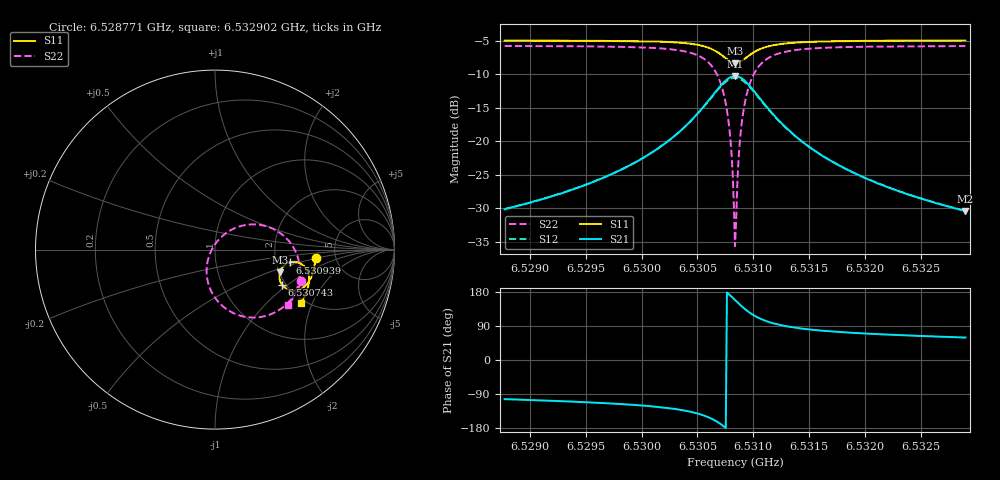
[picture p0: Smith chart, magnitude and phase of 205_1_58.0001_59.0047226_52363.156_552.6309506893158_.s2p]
#  HZ  S  RI  R  50.00
! Rohde & Schwarz Vector Network Analyzer
! Rohde-Schwarz,ZNB20-2Port,1311601062101988,3.16
! Created: UTC 3/21/2024, 12:59:24 AM
! freq[Hz]  re:S11  im:S11  re:S21  im:S21  re:S12  im:S12  re:S22  im:S22
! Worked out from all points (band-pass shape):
!   401 points, 6.528771 GHz to 6.532902 GHz, reference 50 ohm
!   highest |S21| = -10.29 dB at 6.530836 GHz (marker M1); lowest = -30.4 dB at 6.532902 GHz (marker M2)
!   |S21| within 3 dB of the highest: 6.53063 GHz to 6.531044 GHz (413.3 kHz wide, 0.00633 % of centre)
!   lowest |S11| = -8.3 dB at 6.530836 GHz (marker M3), VSWR 2.24, Z = 101 - j29.7 ohm
!   |S11| at or under -10 dB: nowhere
!   |S22| runs from -35.7 to -5.8 dB; largest |S21 - S12| = 0.012
!   S11 on the Smith chart (normalised r, x): 6.528771 GHz: 3.49, -0.50; 6.530743 GHz: 1.91, -0.91; 6.530939 GHz: 2.37, -0.41; 6.532902 GHz: 1.91, -1.66
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6.5287708e9  0.5603 -0.0493  -0.00716 -0.0301  -0.00773 -0.0301  0.4816 -0.1771
6.5294627e9  0.5511 -0.1073  -0.0166 -0.0431  -0.0174 -0.0427  0.4499 -0.2406
6.5301546e9  0.5241 -0.1766  -0.0499 -0.0739  -0.0522 -0.0726  0.3675 -0.3293
6.5303922e9  0.4976 -0.207  -0.0898 -0.0934  -0.0925 -0.0903  0.2865 -0.3684
6.5305677e9  0.4543 -0.227  -0.1577 -0.1  -0.1602 -0.0933  0.1607 -0.3734
6.530671e9  0.4095 -0.2224  -0.2272 -0.0737  -0.2264 -0.064  0.0442 -0.3162
6.5307433e9  0.3742 -0.1956  -0.2784 -0.0152  -0.2726 -0.00508  -0.031 -0.2081
6.5307846e9  0.3609 -0.1678  -0.2943 0.0378  -0.2853 0.0459  -0.0468 -0.1176
6.5308052e9  0.3584 -0.1516  -0.2948 0.0674  -0.2846 0.0743  -0.0419 -0.0685
6.5308259e9  0.3594 -0.1345  -0.2896 0.098  -0.2787 0.1028  -0.0271 -0.0197
6.5308362e9  0.3613 -0.1261  -0.2845 0.1127  -0.2735 0.1166  -0.0161 0.00343
6.5308465e9  0.3642 -0.1179  -0.2781 0.1271  -0.267 0.1297  -0.00288 0.0254
6.5308569e9  0.3677 -0.1102  -0.2704 0.1406  -0.2596 0.1424  0.0123 0.046
6.5308775e9  0.3772 -0.0962  -0.2513 0.1645  -0.2411 0.1646  0.048 0.0817
6.5308878e9  0.3829 -0.0904  -0.2405 0.1749  -0.2307 0.174  0.0676 0.0963
6.5309085e9  0.3954 -0.0804  -0.2171 0.1916  -0.2083 0.1895  0.1093 0.1191
6.5309395e9  0.4157 -0.0714  -0.1803 0.207  -0.1734 0.2038  0.1728 0.1376
6.5310118e9  0.4586 -0.0708  -0.1051 0.2091  -0.1015 0.2059  0.2991 0.1258
6.531115e9  0.4962 -0.0925  -0.0404 0.1781  -0.0386 0.1765  0.403 0.0576
6.5315281e9  0.524 -0.1718  0.0153 0.0862  0.0165 0.0858  0.473 -0.135
6.53222e9  0.5065 -0.2434  0.0175 0.0413  0.0184 0.0411  0.4435 -0.2508
6.5329016e9  0.4812 -0.295  0.0154 0.026  0.0161 0.0257  0.4079 -0.3106
